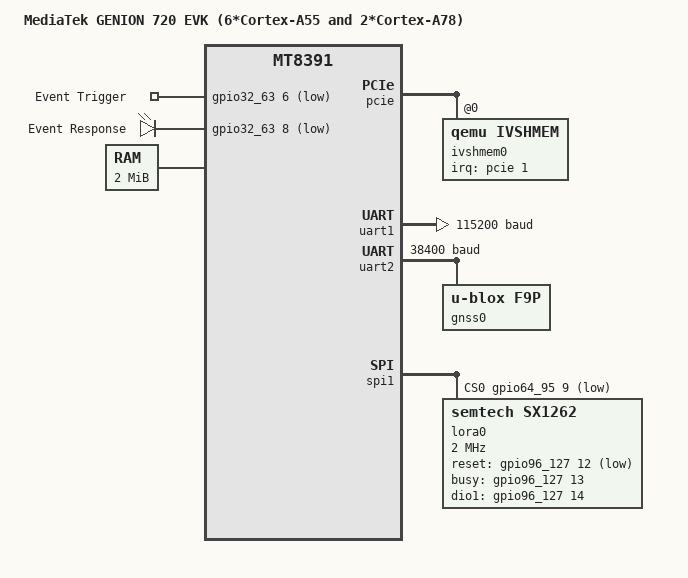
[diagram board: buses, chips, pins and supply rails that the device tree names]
/*
 * Copyright 2025 MediaTek
 *
 * SPDX-License-Identifier: Apache-2.0
 */

/dts-v1/;

#include <mem.h>
#include <zephyr/dt-bindings/gpio/gpio.h>
#include <zephyr/dt-bindings/lora/sx126x.h>
#include <mediatek/mt8391.dtsi>
#include "genio_720_evk-pinctrl.dtsi"

/ {
	model = "MediaTek GENION 720 EVK (6*Cortex-A55 and 2*Cortex-A78)";
	compatible = "mediatek,mt8391-evk";

	aliases {
		trigger = &trigger_gpio;
		response = &response_gpio;
		lora0 = &lora0;
	};

	chosen {
		zephyr,console = &uart1;
		zephyr,shell-uart = &uart1;
		zephyr,sram = &dram;
		zephyr,pcie-controller = &pcie;
	};

	trigger {
		compatible = "gpio-keys";

		trigger_gpio: trigger-gpio {
			gpios = <&gpio32_63 6 GPIO_ACTIVE_LOW>;  /* GPIO 38 */
			label = "Event Trigger";
		};
    };

	response {
		compatible = "gpio-leds";

		response_gpio: response-pgio {
			gpios = <&gpio32_63 8 GPIO_ACTIVE_LOW>;  /* GPIO 40 */
			label = "Event Response";
		};
	};

	cpus {
		cpu@0 {
			status = "disabled";
		};
		cpu@100 {
			status = "disabled";
		};
		cpu@200 {
			status = "disabled";
		};
		cpu@300 {
			status = "disabled";
		};
		cpu@400 {
			status = "disabled";
		};
		cpu@600 {
			status = "disabled";
		};
		cpu@700 {
			status = "disabled";
		};
	};

	dram: memory@8000 {
		reg = <0x00008000 DT_SIZE_M(2)>;
	};

	/* Jailhouse virtual PCI (ivshmem IPC to the Linux root cell).
	 * The ECAM window and the BAR aperture are hypervisor-emulated:
	 * accesses trap to the Jailhouse device model, no real hardware
	 * backs either address. INTx pins map to the GIC SPIs granted to
	 * this cell (vpci_irq_base 576 -> INTIDs 608-611).
	 */
	pcie: pcie@20000000 {
		compatible = "pci-host-ecam-generic";
		device_type = "pci";
		reg = <0x20000000 0x100000>;
		#address-cells = <3>;
		#size-cells = <2>;
		ranges = <0x02000000 0x0 0xff000000 0xff000000 0x0 0x100000>;
		#interrupt-cells = <1>;
		interrupt-map-mask = <0x0 0x0 0x0 0x7>;
		interrupt-map = <0x0 0x0 0x0 1 &gic GIC_SPI 576 IRQ_TYPE_EDGE IRQ_DEFAULT_PRIORITY
				 0x0 0x0 0x0 2 &gic GIC_SPI 577 IRQ_TYPE_EDGE IRQ_DEFAULT_PRIORITY
				 0x0 0x0 0x0 3 &gic GIC_SPI 578 IRQ_TYPE_EDGE IRQ_DEFAULT_PRIORITY
				 0x0 0x0 0x0 4 &gic GIC_SPI 579 IRQ_TYPE_EDGE IRQ_DEFAULT_PRIORITY>;
		bus-range = <0x0 0x0>;
		status = "okay";

		ivshmem0: ivshmem@0 {
			compatible = "qemu,ivshmem";
			ivshmem-v2;
			vendor-id = <0x110A>;
			device-id = <0x4106>;
			class-rev = <0xFF000000>;      /* PCI_CLASS_OTHERS | PROTO_UNDEFINED */
			class-rev-mask = <0xFFFFFF00>;
			interrupt-parent = <&pcie>;
			interrupts = <1 2 3 4>;
			reg = <0x0 0x0 0x0 0x0 0x1>;
			status = "okay";
		};
	};
};

&uart1 {
	pinctrl-0 = <&uart1_default>;
	pinctrl-names = "default";
	current-speed = <115200>;
	status = "okay";
};

/* GNSS receiver (u-blox NEO-F9P-15B) on UART2. The hub only LISTENS on this
 * port: on the ELT0359 carrier its RX pin cannot be driven (see session.md
 * 2026-10-06), so the receiver is configured over I2C from Linux. */
&uart2 {
	pinctrl-0 = <&uart2_default>;
	pinctrl-names = "default";
	current-speed = <38400>;
	status = "okay";

	gnss0: gnss {
		compatible = "u-blox,f9p";
		fix-rate = <1000>;
	};
};


&gpio32_63 {
	status = "okay";
};

&gpio64_95 {
	status = "okay";
};

&gpio96_127 {
	status = "okay";
};

&spi1 {
	pinctrl-0 = <&spi1_default>;
	pinctrl-names = "default";
	cs-gpios = <&gpio64_95 9 GPIO_ACTIVE_LOW>;   /* pad 73 */
	status = "okay";

	lora0: sx1262@0 {
		compatible = "semtech,sx1262";
		reg = <0>;
		spi-max-frequency = <2000000>;
		reset-gpios = <&gpio96_127 12 GPIO_ACTIVE_LOW>;  /* pad 108 NRESET */
		busy-gpios = <&gpio96_127 13 GPIO_ACTIVE_HIGH>;  /* pad 109 */
		dio1-gpios = <&gpio96_127 14 GPIO_ACTIVE_HIGH>;  /* pad 110 */
		dio2-tx-enable;
		dio3-tcxo-voltage = <SX126X_DIO3_TCXO_1V8>;
		tcxo-power-startup-delay-ms = <10>;
	};
};

/*
&i2s {
	pinctrl-0 = <&i2s_default>;
	pinctrl-names = "default";
	status = "okay";
};
*/
